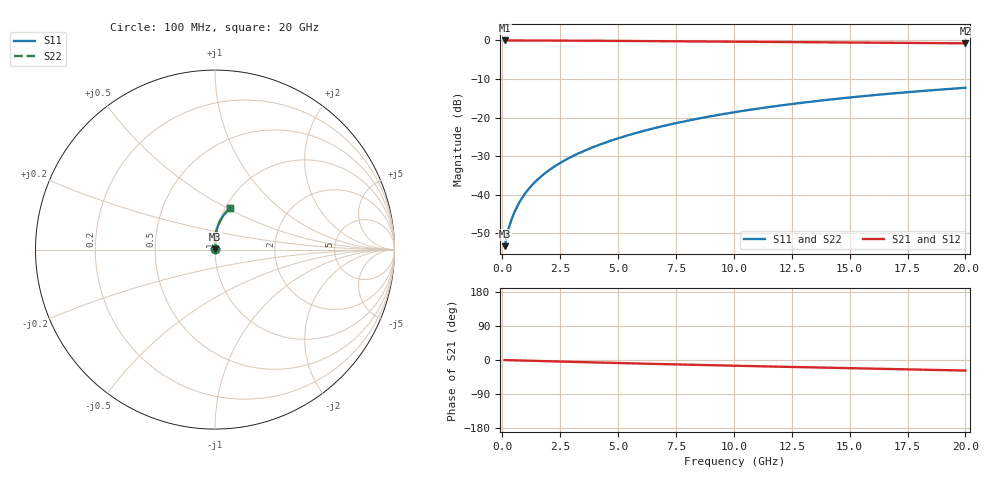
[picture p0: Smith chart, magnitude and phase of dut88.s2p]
! Touchstone file exported from HFSS 2024.1.0
!  File:  C:/UserFiles/LocalFiles/RDL_TSV_Batchsim/temp_RDL_bottom_88_1778694658.aedt
!  Generated:  01:53:26 AM May 14, 2026
!  Design:  RDL_bottom
!  Project:  temp_RDL_bottom_88_1778694658
!  Setup:  Setup1
!  Solution:  Sweep
! Variables:
!  dtsv = 10.80580581um
!  hbump = 3um
!  htsv = 96.08um
!  ldown = 402.18um
!  lrdl = 100um
!  p = 40
!  p1 = 45.99um
!  rhole = 1um
!  t = 450um
!  tdown = 3.7um
!  trdl = 3.915915916um
!  wdown = 24.32um
!  wrdl = 20um
# GHz S MA R 50.000000
! Terminal data exported
! Port[1] = RDL1_T1
! Port[2] = RDL1_T2
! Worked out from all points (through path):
!   200 points, 100 MHz to 20 GHz, reference 50 ohm
!   highest |S21| = -0.02 dB at 100 MHz (marker M1); lowest = -0.8 dB at 20 GHz (marker M2)
!   group delay of S21, straight-line fit = 3.82 ps
!   lowest |S11| = -53.3 dB at 100 MHz (marker M3), VSWR 1.00, Z = 50.2 + j0.118 ohm
!   |S11| at or under -10 dB: start of sweep to end of sweep
!   |S22| runs from -53.3 to -12.3 dB; largest |S21 - S12| = 2.7e-15
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0.1  0.002155 33.0  0.9982 -0.2  0.9982 -0.2  0.002155 33.0
! Gamma 0 0 0 0
! Port Impedance 50 0 50 0
0.2  0.002977 49.9  0.9981 -0.3  0.9981 -0.3  0.002977 49.9
0.3  0.003882 58.6  0.9979 -0.5  0.9979 -0.5  0.003882 58.6
0.4  0.004799 64.1  0.9978 -0.7  0.9978 -0.7  0.004799 64.1
0.5  0.005723 68.0  0.9977 -0.8  0.9977 -0.8  0.005723 68.0
0.6  0.006658 70.9  0.9976 -1.0  0.9976 -1.0  0.006658 70.9
0.8  0.008562 75.1  0.9973 -1.3  0.9973 -1.3  0.008562 75.1
1.1  0.01149 79.1  0.997 -1.8  0.997 -1.8  0.01149 79.1
1.3  0.01347 80.9  0.9967 -2.2  0.9967 -2.2  0.01347 80.8
1.6  0.01649 82.8  0.9962 -2.6  0.9962 -2.6  0.01649 82.8
2.1  0.02163 84.9  0.9951 -3.5  0.9951 -3.5  0.02163 84.9
2.7  0.02794 86.4  0.9935 -4.4  0.9935 -4.4  0.02794 86.4
3.5  0.03664 87.6  0.991 -5.7  0.991 -5.7  0.03664 87.6
4.2  0.04452 88.1  0.9884 -6.8  0.9884 -6.8  0.04452 88.1
5  0.05383 88.3  0.9852 -8.0  0.9852 -8.0  0.05382 88.3
6.8  0.07579 87.7  0.9771 -10.6  0.9771 -10.6  0.07578 87.7
8.4  0.09619 86.3  0.9696 -12.9  0.9696 -12.9  0.09617 86.3
10.1  0.1184 84.4  0.9615 -15.2  0.9615 -15.2  0.1183 84.4
11.7  0.1393 82.3  0.9541 -17.3  0.9541 -17.3  0.1393 82.3
13.4  0.1615 79.9  0.9462 -19.6  0.9462 -19.6  0.1614 79.9
16.7  0.2034 75.2  0.9313 -23.8  0.9313 -23.8  0.2033 75.2
20  0.2432 70.5  0.9164 -27.8  0.9164 -27.8  0.2431 70.5
